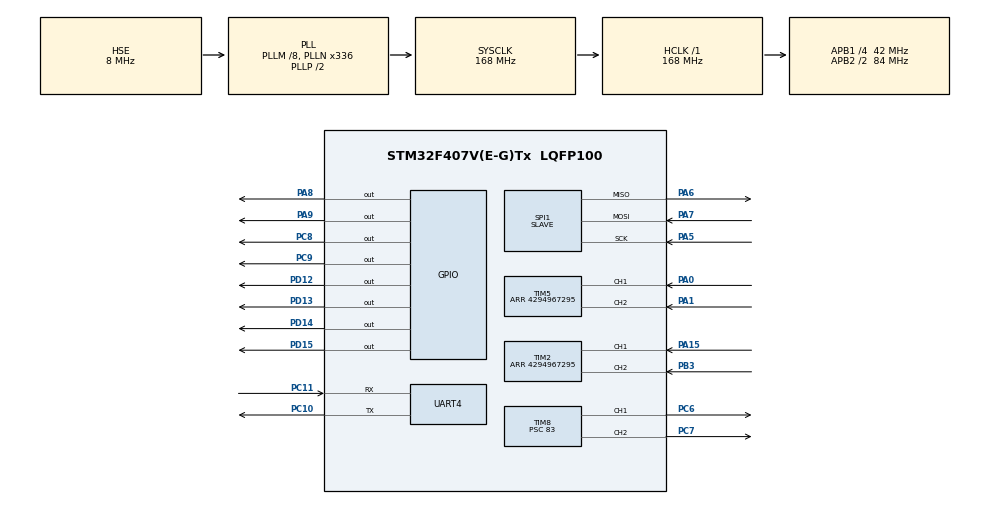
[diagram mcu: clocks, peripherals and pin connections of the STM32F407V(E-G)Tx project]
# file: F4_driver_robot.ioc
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Dma.Request0=TIM5_UP
Dma.Request1=TIM2_UP/CH3
Dma.Request2=UART4_RX
Dma.Request3=UART4_TX
Dma.Request4=SPI1_RX
Dma.Request5=SPI1_TX
Dma.SPI1_RX.4.Direction=DMA_PERIPH_TO_MEMORY
Dma.SPI1_RX.4.FIFOMode=DMA_FIFOMODE_DISABLE
Dma.SPI1_RX.4.Instance=DMA2_Stream0
Dma.SPI1_RX.4.MemDataAlignment=DMA_MDATAALIGN_BYTE
Dma.SPI1_RX.4.MemInc=DMA_MINC_ENABLE
Dma.SPI1_RX.4.Mode=DMA_CIRCULAR
Dma.SPI1_RX.4.PeriphDataAlignment=DMA_PDATAALIGN_BYTE
Dma.SPI1_RX.4.PeriphInc=DMA_PINC_DISABLE
Dma.SPI1_RX.4.Priority=DMA_PRIORITY_LOW
Dma.SPI1_TX.5.Direction=DMA_MEMORY_TO_PERIPH
Dma.SPI1_TX.5.FIFOMode=DMA_FIFOMODE_DISABLE
Dma.SPI1_TX.5.Instance=DMA2_Stream5
Dma.SPI1_TX.5.MemDataAlignment=DMA_MDATAALIGN_BYTE
Dma.SPI1_TX.5.MemInc=DMA_MINC_ENABLE
Dma.SPI1_TX.5.Mode=DMA_NORMAL
Dma.SPI1_TX.5.PeriphDataAlignment=DMA_PDATAALIGN_BYTE
Dma.SPI1_TX.5.PeriphInc=DMA_PINC_DISABLE
Dma.SPI1_TX.5.Priority=DMA_PRIORITY_LOW
Dma.TIM2_UP/CH3.1.Direction=DMA_PERIPH_TO_MEMORY
Dma.TIM2_UP/CH3.1.FIFOMode=DMA_FIFOMODE_DISABLE
Dma.TIM2_UP/CH3.1.Instance=DMA1_Stream1
Dma.TIM2_UP/CH3.1.MemDataAlignment=DMA_MDATAALIGN_WORD
Dma.TIM2_UP/CH3.1.MemInc=DMA_MINC_ENABLE
Dma.TIM2_UP/CH3.1.Mode=DMA_CIRCULAR
Dma.TIM2_UP/CH3.1.PeriphDataAlignment=DMA_PDATAALIGN_WORD
Dma.TIM2_UP/CH3.1.PeriphInc=DMA_PINC_DISABLE
Dma.TIM2_UP/CH3.1.Priority=DMA_PRIORITY_LOW
Dma.TIM5_UP.0.Direction=DMA_PERIPH_TO_MEMORY
Dma.TIM5_UP.0.FIFOMode=DMA_FIFOMODE_DISABLE
Dma.TIM5_UP.0.Instance=DMA1_Stream6
Dma.TIM5_UP.0.MemDataAlignment=DMA_MDATAALIGN_WORD
Dma.TIM5_UP.0.MemInc=DMA_MINC_ENABLE
Dma.TIM5_UP.0.Mode=DMA_CIRCULAR
Dma.TIM5_UP.0.PeriphDataAlignment=DMA_PDATAALIGN_WORD
Dma.TIM5_UP.0.PeriphInc=DMA_PINC_DISABLE
Dma.TIM5_UP.0.Priority=DMA_PRIORITY_LOW
Dma.UART4_RX.2.Direction=DMA_PERIPH_TO_MEMORY
Dma.UART4_RX.2.FIFOMode=DMA_FIFOMODE_DISABLE
Dma.UART4_RX.2.Instance=DMA1_Stream2
Dma.UART4_RX.2.MemDataAlignment=DMA_MDATAALIGN_BYTE
Dma.UART4_RX.2.MemInc=DMA_MINC_ENABLE
Dma.UART4_RX.2.Mode=DMA_CIRCULAR
Dma.UART4_RX.2.PeriphDataAlignment=DMA_PDATAALIGN_BYTE
Dma.UART4_RX.2.PeriphInc=DMA_PINC_DISABLE
Dma.UART4_RX.2.Priority=DMA_PRIORITY_LOW
Dma.UART4_TX.3.Direction=DMA_MEMORY_TO_PERIPH
Dma.UART4_TX.3.FIFOMode=DMA_FIFOMODE_DISABLE
Dma.UART4_TX.3.Instance=DMA1_Stream4
Dma.UART4_TX.3.MemDataAlignment=DMA_MDATAALIGN_BYTE
Dma.UART4_TX.3.MemInc=DMA_MINC_ENABLE
Dma.UART4_TX.3.Mode=DMA_NORMAL
Dma.UART4_TX.3.PeriphDataAlignment=DMA_PDATAALIGN_BYTE
Dma.UART4_TX.3.PeriphInc=DMA_PINC_DISABLE
Dma.UART4_TX.3.Priority=DMA_PRIORITY_LOW
Mcu.Family=STM32F4
Mcu.Name=STM32F407V(E-G)Tx
Mcu.Package=LQFP100
NVIC.DMA1_Stream1_IRQn=true\:0\:0\:false\:false\:true\:false\:true\:true
NVIC.DMA1_Stream2_IRQn=true\:0\:0\:false\:false\:true\:false\:true\:true
NVIC.DMA1_Stream4_IRQn=true\:0\:0\:false\:false\:true\:false\:true\:true
NVIC.DMA1_Stream6_IRQn=true\:0\:0\:false\:false\:true\:false\:true\:true
NVIC.DMA2_Stream0_IRQn=true\:0\:0\:false\:false\:true\:false\:true\:true
NVIC.DMA2_Stream5_IRQn=true\:0\:0\:false\:false\:true\:false\:true\:true
NVIC.PriorityGroup=NVIC_PRIORITYGROUP_4
NVIC.SPI1_IRQn=true\:0\:0\:false\:false\:true\:true\:true\:true
NVIC.TIM1_UP_TIM10_IRQn=true\:0\:0\:false\:false\:true\:true\:true\:true
NVIC.UART4_IRQn=true\:0\:0\:false\:false\:true\:true\:true\:true
PA0-WKUP.Signal=S_TIM5_CH1
PA1.Signal=S_TIM5_CH2
PA13.Mode=Serial_Wire
PA13.Signal=SYS_JTMS-SWDIO
PA14.Mode=Serial_Wire
PA14.Signal=SYS_JTCK-SWCLK
PA15.Signal=S_TIM2_CH1_ETR
PA5.Mode=Full_Duplex_Slave
PA5.Signal=SPI1_SCK
PA6.Mode=Full_Duplex_Slave
PA6.Signal=SPI1_MISO
PA7.Mode=Full_Duplex_Slave
PA7.Signal=SPI1_MOSI
PA8.Signal=GPIO_Output
PA9.Signal=GPIO_Output
PB3.Signal=S_TIM2_CH2
PC10.Mode=Asynchronous
PC10.Signal=UART4_TX
PC11.Mode=Asynchronous
PC11.Signal=UART4_RX
PC6.Signal=S_TIM8_CH1
PC7.Signal=S_TIM8_CH2
PC8.Signal=GPIO_Output
PC9.Signal=GPIO_Output
PD12.Signal=GPIO_Output
PD13.Signal=GPIO_Output
PD14.Signal=GPIO_Output
PD15.Signal=GPIO_Output
PH0-OSC_IN.Mode=HSE-External-Oscillator
PH0-OSC_IN.Signal=RCC_OSC_IN
PH1-OSC_OUT.Mode=HSE-External-Oscillator
PH1-OSC_OUT.Signal=RCC_OSC_OUT
ProjectManager.HeapSize=0x200
ProjectManager.StackSize=0x400
ProjectManager.TargetToolchain=MDK-ARM V5.32
RCC.48MHZClocksFreq_Value=84000000
RCC.AHBFreq_Value=168000000
RCC.APB1CLKDivider=RCC_HCLK_DIV4
RCC.APB1Freq_Value=42000000
RCC.APB1TimFreq_Value=84000000
RCC.APB2CLKDivider=RCC_HCLK_DIV2
RCC.APB2Freq_Value=84000000
RCC.APB2TimFreq_Value=168000000
RCC.CortexFreq_Value=168000000
RCC.HCLKFreq_Value=168000000
RCC.HSE_VALUE=8000000
RCC.HSI_VALUE=16000000
RCC.LSE_VALUE=32768
RCC.PLLM=8
RCC.PLLN=336
RCC.PLLSourceVirtual=RCC_PLLSOURCE_HSE
RCC.SYSCLKFreq_VALUE=168000000
RCC.SYSCLKSource=RCC_SYSCLKSOURCE_PLLCLK
RCC.VCOOutputFreq_Value=336000000
SH.S_TIM2_CH1_ETR.0=TIM2_CH1,Encoder_Interface
SH.S_TIM2_CH2.0=TIM2_CH2,Encoder_Interface
SH.S_TIM5_CH1.0=TIM5_CH1,Encoder_Interface
SH.S_TIM5_CH2.0=TIM5_CH2,Encoder_Interface
SH.S_TIM8_CH1.0=TIM8_CH1,PWM Generation1 CH1
SH.S_TIM8_CH2.0=TIM8_CH2,PWM Generation2 CH2
SPI1.CRCCalculation=SPI_CRCCALCULATION_DISABLE
SPI1.Direction=SPI_DIRECTION_2LINES
SPI1.Mode=SPI_MODE_SLAVE
SPI1.VirtualType=VM_SLAVE
TIM1.Period=1679
TIM1.Prescaler=499
TIM2.AutoReloadPreload=TIM_AUTORELOAD_PRELOAD_DISABLE
TIM2.CounterMode=TIM_COUNTERMODE_UP
TIM2.EncoderMode=TIM_ENCODERMODE_TI12
TIM2.Period=4294967295
TIM5.EncoderMode=TIM_ENCODERMODE_TI12
TIM5.Period=4294967295
TIM8.Channel-PWM\ Generation1\ CH1=TIM_CHANNEL_1
TIM8.Channel-PWM\ Generation2\ CH2=TIM_CHANNEL_2
TIM8.Period=999
TIM8.Prescaler=83
UART4.VirtualMode=Asynchronous
VP_TIM1_VS_ClockSourceINT.Mode=Internal
board=custom

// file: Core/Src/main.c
/* USER CODE BEGIN Header */
/**
  ******************************************************************************
  * @file           : main.c
  * @brief          : Main program body
  ******************************************************************************
  * @attention
  *
  * Copyright (c) 2022 STMicroelectronics.
  * All rights reserved.
  *
  * This software is licensed under terms that can be found in the LICENSE file
  * in the root directory of this software component.
  * If no LICENSE file comes with this software, it is provided AS-IS.
  *
  ******************************************************************************
  */
/* USER CODE END Header */
#include "main.h"

/* USER CODE BEGIN Includes */
#define Tran_P 1
#define Tran_V 0
#define Block 2
#define Control_V 1
#define Control_P 0
/* USER CODE END Includes */

/* USER CODE BEGIN PTD */
double Kp1 = 14 , Kp2 = 15, Ki1 = 200, Ki2= 200, Kd1 =0, Kd2 =0, Ts =0.005 ; /*PID parameter for  velocity Control*/
double Kp_1 = 15 , Kp_2 = 19, Ki_1 = 60, Ki_2= 20, Kd_1 =2, Kd_2 =3; /*PID parameter for positon Control */
double e1,e2;
volatile int32_t	encoder_cnt1 = 0, encoder_cnt_pre1 = 0, encoder_cnt2 = 0, encoder_cnt_pre2 = 0,test1,test2, s_pos1 = 0, s_pos2 =0;
volatile short rate1,pulse1,rate2,pulse2,s_rate1 = 0,s_rate2 =0,test, x = 999;
volatile int pid1,pid2;
uint8_t u8_Rx_Data[256],u8_Tx_Data[30] ,u8_Rx_SPI[1], u8_Rx_c, control_mode = Control_V, send_mode = Block, error_state = 0;
uint8_t start_buff = 0;
uint8_t end_buff = 255;

/* USER CODE END PTD */

SPI_HandleTypeDef hspi1;
DMA_HandleTypeDef hdma_spi1_rx;
DMA_HandleTypeDef hdma_spi1_tx;

TIM_HandleTypeDef htim1;
TIM_HandleTypeDef htim2;
TIM_HandleTypeDef htim5;
TIM_HandleTypeDef htim8;
DMA_HandleTypeDef hdma_tim2_up_ch3;
DMA_HandleTypeDef hdma_tim5_up;

UART_HandleTypeDef huart4;
DMA_HandleTypeDef hdma_uart4_rx;
DMA_HandleTypeDef hdma_uart4_tx;

void SystemClock_Config(void);
static void MX_GPIO_Init(void);
static void MX_DMA_Init(void);
static void MX_TIM2_Init(void);
static void MX_TIM5_Init(void);
static void MX_TIM8_Init(void);
static void MX_TIM1_Init(void);
static void MX_UART4_Init(void);
static void MX_SPI1_Init(void);

/* USER CODE BEGIN 0 */
int muoi_mu(int a);
int Int2Str(int a, int offset);
void tran_mess( uint8_t mode);
void HAL_TIM_PeriodElapsedCallback(TIM_HandleTypeDef *htim);
void HAL_UART_RxCpltCallback(UART_HandleTypeDef *huart);
void HAL_SPI_RxCpltCallback(SPI_HandleTypeDef *hspi);
int Str2Int(uint8_t* p , uint8_t i);
uint8_t Pop_Rx_Data();
/* USER CODE END 0 */

int main(void)
{

  /* MCU Configuration--------------------------------------------------------*/

  /* Reset of all peripherals, Initializes the Flash interface and the Systick. */
  HAL_Init();

  /* Configure the system clock */
  SystemClock_Config();

  /* Initialize all configured peripherals */
  MX_GPIO_Init();
  MX_DMA_Init();
  MX_TIM2_Init();
  MX_TIM5_Init();
  MX_TIM8_Init();
  MX_TIM1_Init();
  MX_UART4_Init();
  MX_SPI1_Init();
  /* USER CODE BEGIN 2 */
	HAL_TIM_Encoder_Start(&htim2,TIM_CHANNEL_1|TIM_CHANNEL_2);
	HAL_TIM_Encoder_Start(&htim5,TIM_CHANNEL_1|TIM_CHANNEL_2);
	HAL_TIM_PWM_Start(&htim8,TIM_CHANNEL_1);
	HAL_TIM_PWM_Start(&htim8,TIM_CHANNEL_2);
	HAL_TIM_Base_Start_IT(&htim1);
	HAL_SPI_Receive_DMA(&hspi1,u8_Rx_SPI,1);
	HAL_UART_Receive_DMA(&huart4,&u8_Rx_c,1);

	//

  /* USER CODE END 2 */

  /* Infinite loop */
  /* USER CODE BEGIN WHILE */
  while (1)
  {
		/* Process UART*/
		uint8_t c = Pop_Rx_Data();
		uint8_t s_buff1[4],s_buff2[4];
		int i_buff =0;
		if (c == '!')
		{
			c = Pop_Rx_Data();
			switch (c)
			{
				case 'V' :
					c = Pop_Rx_Data();
					while (c != ';' && c !='!')
					{
						s_buff1[i_buff++] = c;
						c = Pop_Rx_Data();
					}
					s_rate1 = Str2Int (s_buff1,i_buff);
					i_buff =0;
					c = Pop_Rx_Data();
					while (c != '#' && c !='!')
					{
						s_buff2[i_buff++] = c ;
						c = Pop_Rx_Data();
					}
					s_rate2 = Str2Int (s_buff2,i_buff);
					i_buff =0;
					control_mode = Control_V ;
					break;
				case 'P' :
					c = Pop_Rx_Data();
					while (c != ';' && c !='!')
					{
						s_buff1[i_buff++] = c;
						c = Pop_Rx_Data();
					}
					s_pos1 = Str2Int (s_buff1,i_buff);
					i_buff =0;
					c = Pop_Rx_Data();
					while (c != '#' && c !='!')
					{
						s_buff2[i_buff++] = c ;
						c = Pop_Rx_Data();
					}
					s_pos2 = Str2Int (s_buff2,i_buff);
					i_buff =0;
					control_mode = Control_P ;
					break;
				case 'v':
					c = Pop_Rx_Data();
					if (c == '#') send_mode = Tran_V;
					break;
				case 'p':
					c = Pop_Rx_Data();
					if (c == '#') send_mode = Tran_P;
					break ;
				case 'O':
					c = Pop_Rx_Data();
					if (c == '#') send_mode = Block ;
					break;
				default :
					break;
			}
		}
    /* USER CODE END WHILE */

  }
}

void SystemClock_Config(void)
{
  RCC_OscInitTypeDef RCC_OscInitStruct = {0};
  RCC_ClkInitTypeDef RCC_ClkInitStruct = {0};

  /** Configure the main internal regulator output voltage
  */
  __HAL_RCC_PWR_CLK_ENABLE();
  __HAL_PWR_VOLTAGESCALING_CONFIG(PWR_REGULATOR_VOLTAGE_SCALE1);

  /** Initializes the RCC Oscillators according to the specified parameters
  * in the RCC_OscInitTypeDef structure.
  */
  RCC_OscInitStruct.OscillatorType = RCC_OSCILLATORTYPE_HSE;
  RCC_OscInitStruct.HSEState = RCC_HSE_ON;
  RCC_OscInitStruct.PLL.PLLState = RCC_PLL_ON;
  RCC_OscInitStruct.PLL.PLLSource = RCC_PLLSOURCE_HSE;
  RCC_OscInitStruct.PLL.PLLM = 8;
  RCC_OscInitStruct.PLL.PLLN = 336;
  RCC_OscInitStruct.PLL.PLLP = RCC_PLLP_DIV2;
  RCC_OscInitStruct.PLL.PLLQ = 4;
  if (HAL_RCC_OscConfig(&RCC_OscInitStruct) != HAL_OK)
  {
    Error_Handler();
  }

  /** Initializes the CPU, AHB and APB buses clocks
  */
  RCC_ClkInitStruct.ClockType = RCC_CLOCKTYPE_HCLK|RCC_CLOCKTYPE_SYSCLK
                              |RCC_CLOCKTYPE_PCLK1|RCC_CLOCKTYPE_PCLK2;
  RCC_ClkInitStruct.SYSCLKSource = RCC_SYSCLKSOURCE_PLLCLK;
  RCC_ClkInitStruct.AHBCLKDivider = RCC_SYSCLK_DIV1;
  RCC_ClkInitStruct.APB1CLKDivider = RCC_HCLK_DIV4;
  RCC_ClkInitStruct.APB2CLKDivider = RCC_HCLK_DIV2;

  if (HAL_RCC_ClockConfig(&RCC_ClkInitStruct, FLASH_LATENCY_5) != HAL_OK)
  {
    Error_Handler();
  }
}

static void MX_SPI1_Init(void)
{

  /* SPI1 parameter configuration*/
  hspi1.Instance = SPI1;
  hspi1.Init.Mode = SPI_MODE_SLAVE;
  hspi1.Init.Direction = SPI_DIRECTION_2LINES;
  hspi1.Init.DataSize = SPI_DATASIZE_8BIT;
  hspi1.Init.CLKPolarity = SPI_POLARITY_LOW;
  hspi1.Init.CLKPhase = SPI_PHASE_1EDGE;
  hspi1.Init.NSS = SPI_NSS_SOFT;
  hspi1.Init.FirstBit = SPI_FIRSTBIT_MSB;
  hspi1.Init.TIMode = SPI_TIMODE_DISABLE;
  hspi1.Init.CRCCalculation = SPI_CRCCALCULATION_DISABLE;
  hspi1.Init.CRCPolynomial = 10;
  if (HAL_SPI_Init(&hspi1) != HAL_OK)
  {
    Error_Handler();
  }

}

static void MX_TIM1_Init(void)
{

  TIM_ClockConfigTypeDef sClockSourceConfig = {0};
  TIM_MasterConfigTypeDef sMasterConfig = {0};

  htim1.Instance = TIM1;
  htim1.Init.Prescaler = 499;
  htim1.Init.CounterMode = TIM_COUNTERMODE_UP;
  htim1.Init.Period = 1679;
  htim1.Init.ClockDivision = TIM_CLOCKDIVISION_DIV1;
  htim1.Init.RepetitionCounter = 0;
  htim1.Init.AutoReloadPreload = TIM_AUTORELOAD_PRELOAD_DISABLE;
  if (HAL_TIM_Base_Init(&htim1) != HAL_OK)
  {
    Error_Handler();
  }
  sClockSourceConfig.ClockSource = TIM_CLOCKSOURCE_INTERNAL;
  if (HAL_TIM_ConfigClockSource(&htim1, &sClockSourceConfig) != HAL_OK)
  {
    Error_Handler();
  }
  sMasterConfig.MasterOutputTrigger = TIM_TRGO_RESET;
  sMasterConfig.MasterSlaveMode = TIM_MASTERSLAVEMODE_DISABLE;
  if (HAL_TIMEx_MasterConfigSynchronization(&htim1, &sMasterConfig) != HAL_OK)
  {
    Error_Handler();
  }

}

static void MX_TIM2_Init(void)
{

  TIM_Encoder_InitTypeDef sConfig = {0};
  TIM_MasterConfigTypeDef sMasterConfig = {0};

  htim2.Instance = TIM2;
  htim2.Init.Prescaler = 0;
  htim2.Init.CounterMode = TIM_COUNTERMODE_UP;
  htim2.Init.Period = 4294967295;
  htim2.Init.ClockDivision = TIM_CLOCKDIVISION_DIV1;
  htim2.Init.AutoReloadPreload = TIM_AUTORELOAD_PRELOAD_DISABLE;
  sConfig.EncoderMode = TIM_ENCODERMODE_TI12;
  sConfig.IC1Polarity = TIM_ICPOLARITY_RISING;
  sConfig.IC1Selection = TIM_ICSELECTION_DIRECTTI;
  sConfig.IC1Prescaler = TIM_ICPSC_DIV1;
  sConfig.IC1Filter = 0;
  sConfig.IC2Polarity = TIM_ICPOLARITY_RISING;
  sConfig.IC2Selection = TIM_ICSELECTION_DIRECTTI;
  sConfig.IC2Prescaler = TIM_ICPSC_DIV1;
  sConfig.IC2Filter = 0;
  if (HAL_TIM_Encoder_Init(&htim2, &sConfig) != HAL_OK)
  {
    Error_Handler();
  }
  sMasterConfig.MasterOutputTrigger = TIM_TRGO_RESET;
  sMasterConfig.MasterSlaveMode = TIM_MASTERSLAVEMODE_DISABLE;
  if (HAL_TIMEx_MasterConfigSynchronization(&htim2, &sMasterConfig) != HAL_OK)
  {
    Error_Handler();
  }

}

static void MX_TIM5_Init(void)
{

  TIM_Encoder_InitTypeDef sConfig = {0};
  TIM_MasterConfigTypeDef sMasterConfig = {0};

  htim5.Instance = TIM5;
  htim5.Init.Prescaler = 0;
  htim5.Init.CounterMode = TIM_COUNTERMODE_UP;
  htim5.Init.Period = 4294967295;
  htim5.Init.ClockDivision = TIM_CLOCKDIVISION_DIV1;
  htim5.Init.AutoReloadPreload = TIM_AUTORELOAD_PRELOAD_DISABLE;
  sConfig.EncoderMode = TIM_ENCODERMODE_TI12;
  sConfig.IC1Polarity = TIM_ICPOLARITY_RISING;
  sConfig.IC1Selection = TIM_ICSELECTION_DIRECTTI;
  sConfig.IC1Prescaler = TIM_ICPSC_DIV1;
  sConfig.IC1Filter = 0;
  sConfig.IC2Polarity = TIM_ICPOLARITY_RISING;
  sConfig.IC2Selection = TIM_ICSELECTION_DIRECTTI;
  sConfig.IC2Prescaler = TIM_ICPSC_DIV1;
  sConfig.IC2Filter = 0;
  if (HAL_TIM_Encoder_Init(&htim5, &sConfig) != HAL_OK)
  {
    Error_Handler();
  }
  sMasterConfig.MasterOutputTrigger = TIM_TRGO_RESET;
  sMasterConfig.MasterSlaveMode = TIM_MASTERSLAVEMODE_DISABLE;
  if (HAL_TIMEx_MasterConfigSynchronization(&htim5, &sMasterConfig) != HAL_OK)
  {
    Error_Handler();
  }

}

static void MX_TIM8_Init(void)
{

  TIM_MasterConfigTypeDef sMasterConfig = {0};
  TIM_OC_InitTypeDef sConfigOC = {0};
  TIM_BreakDeadTimeConfigTypeDef sBreakDeadTimeConfig = {0};

  htim8.Instance = TIM8;
  htim8.Init.Prescaler = 83;
  htim8.Init.CounterMode = TIM_COUNTERMODE_UP;
  htim8.Init.Period = 999;
  htim8.Init.ClockDivision = TIM_CLOCKDIVISION_DIV1;
  htim8.Init.RepetitionCounter = 0;
  htim8.Init.AutoReloadPreload = TIM_AUTORELOAD_PRELOAD_DISABLE;
  if (HAL_TIM_PWM_Init(&htim8) != HAL_OK)
  {
    Error_Handler();
  }
  sMasterConfig.MasterOutputTrigger = TIM_TRGO_RESET;
  sMasterConfig.MasterSlaveMode = TIM_MASTERSLAVEMODE_DISABLE;
  if (HAL_TIMEx_MasterConfigSynchronization(&htim8, &sMasterConfig) != HAL_OK)
  {
    Error_Handler();
  }
  sConfigOC.OCMode = TIM_OCMODE_PWM1;
  sConfigOC.Pulse = 0;
  sConfigOC.OCPolarity = TIM_OCPOLARITY_HIGH;
  sConfigOC.OCNPolarity = TIM_OCNPOLARITY_HIGH;
  sConfigOC.OCFastMode = TIM_OCFAST_DISABLE;
  sConfigOC.OCIdleState = TIM_OCIDLESTATE_RESET;
  sConfigOC.OCNIdleState = TIM_OCNIDLESTATE_RESET;
  if (HAL_TIM_PWM_ConfigChannel(&htim8, &sConfigOC, TIM_CHANNEL_1) != HAL_OK)
  {
    Error_Handler();
  }
  if (HAL_TIM_PWM_ConfigChannel(&htim8, &sConfigOC, TIM_CHANNEL_2) != HAL_OK)
  {
    Error_Handler();
  }
  sBreakDeadTimeConfig.OffStateRunMode = TIM_OSSR_DISABLE;
  sBreakDeadTimeConfig.OffStateIDLEMode = TIM_OSSI_DISABLE;
  sBreakDeadTimeConfig.LockLevel = TIM_LOCKLEVEL_OFF;
  sBreakDeadTimeConfig.DeadTime = 0;
  sBreakDeadTimeConfig.BreakState = TIM_BREAK_DISABLE;
  sBreakDeadTimeConfig.BreakPolarity = TIM_BREAKPOLARITY_HIGH;
  sBreakDeadTimeConfig.AutomaticOutput = TIM_AUTOMATICOUTPUT_DISABLE;
  if (HAL_TIMEx_ConfigBreakDeadTime(&htim8, &sBreakDeadTimeConfig) != HAL_OK)
  {
    Error_Handler();
  }
  HAL_TIM_MspPostInit(&htim8);

}

static void MX_UART4_Init(void)
{

  huart4.Instance = UART4;
  huart4.Init.BaudRate = 115200;
  huart4.Init.WordLength = UART_WORDLENGTH_8B;
  huart4.Init.StopBits = UART_STOPBITS_1;
  huart4.Init.Parity = UART_PARITY_NONE;
  huart4.Init.Mode = UART_MODE_TX_RX;
  huart4.Init.HwFlowCtl = UART_HWCONTROL_NONE;
  huart4.Init.OverSampling = UART_OVERSAMPLING_16;
  if (HAL_UART_Init(&huart4) != HAL_OK)
  {
    Error_Handler();
  }

}

static void MX_DMA_Init(void)
{

  /* DMA controller clock enable */
  __HAL_RCC_DMA1_CLK_ENABLE();
  __HAL_RCC_DMA2_CLK_ENABLE();

  /* DMA interrupt init */
  /* DMA1_Stream1_IRQn interrupt configuration */
  HAL_NVIC_SetPriority(DMA1_Stream1_IRQn, 0, 0);
  HAL_NVIC_EnableIRQ(DMA1_Stream1_IRQn);
  /* DMA1_Stream2_IRQn interrupt configuration */
  HAL_NVIC_SetPriority(DMA1_Stream2_IRQn, 0, 0);
  HAL_NVIC_EnableIRQ(DMA1_Stream2_IRQn);
  /* DMA1_Stream4_IRQn interrupt configuration */
  HAL_NVIC_SetPriority(DMA1_Stream4_IRQn, 0, 0);
  HAL_NVIC_EnableIRQ(DMA1_Stream4_IRQn);
  /* DMA1_Stream6_IRQn interrupt configuration */
  HAL_NVIC_SetPriority(DMA1_Stream6_IRQn, 0, 0);
  HAL_NVIC_EnableIRQ(DMA1_Stream6_IRQn);
  /* DMA2_Stream0_IRQn interrupt configuration */
  HAL_NVIC_SetPriority(DMA2_Stream0_IRQn, 0, 0);
  HAL_NVIC_EnableIRQ(DMA2_Stream0_IRQn);
  /* DMA2_Stream5_IRQn interrupt configuration */
  HAL_NVIC_SetPriority(DMA2_Stream5_IRQn, 0, 0);
  HAL_NVIC_EnableIRQ(DMA2_Stream5_IRQn);

}

static void MX_GPIO_Init(void)
{
  GPIO_InitTypeDef GPIO_InitStruct = {0};

  /* GPIO Ports Clock Enable */
  __HAL_RCC_GPIOH_CLK_ENABLE();
  __HAL_RCC_GPIOA_CLK_ENABLE();
  __HAL_RCC_GPIOD_CLK_ENABLE();
  __HAL_RCC_GPIOC_CLK_ENABLE();
  __HAL_RCC_GPIOB_CLK_ENABLE();

  /*Configure GPIO pin Output Level */
  HAL_GPIO_WritePin(GPIOD, GPIO_PIN_12|GPIO_PIN_13|GPIO_PIN_14|GPIO_PIN_15, GPIO_PIN_RESET);

  /*Configure GPIO pin Output Level */
  HAL_GPIO_WritePin(GPIOC, GPIO_PIN_8|GPIO_PIN_9, GPIO_PIN_RESET);

  /*Configure GPIO pin Output Level */
  HAL_GPIO_WritePin(GPIOA, GPIO_PIN_8|GPIO_PIN_9, GPIO_PIN_RESET);

  /*Configure GPIO pins : PD12 PD13 PD14 PD15 */
  GPIO_InitStruct.Pin = GPIO_PIN_12|GPIO_PIN_13|GPIO_PIN_14|GPIO_PIN_15;
  GPIO_InitStruct.Mode = GPIO_MODE_OUTPUT_PP;
  GPIO_InitStruct.Pull = GPIO_NOPULL;
  GPIO_InitStruct.Speed = GPIO_SPEED_FREQ_LOW;
  HAL_GPIO_Init(GPIOD, &GPIO_InitStruct);

  /*Configure GPIO pins : PC8 PC9 */
  GPIO_InitStruct.Pin = GPIO_PIN_8|GPIO_PIN_9;
  GPIO_InitStruct.Mode = GPIO_MODE_OUTPUT_PP;
  GPIO_InitStruct.Pull = GPIO_NOPULL;
  GPIO_InitStruct.Speed = GPIO_SPEED_FREQ_LOW;
  HAL_GPIO_Init(GPIOC, &GPIO_InitStruct);

  /*Configure GPIO pins : PA8 PA9 */
  GPIO_InitStruct.Pin = GPIO_PIN_8|GPIO_PIN_9;
  GPIO_InitStruct.Mode = GPIO_MODE_OUTPUT_PP;
  GPIO_InitStruct.Pull = GPIO_NOPULL;
  GPIO_InitStruct.Speed = GPIO_SPEED_FREQ_LOW;
  HAL_GPIO_Init(GPIOA, &GPIO_InitStruct);

}

/* USER CODE BEGIN 4 */
int muoi_mu(int a) /*a >= 0*/
{
	int  r =1;
	if (a == 0){
	return r;
	}
	else if (a < 0){
	return 0;
	}
	r =10*muoi_mu(a -1);
	return r;
}
int Int2Str(int a, int offset)
{
    uint8_t* p = u8_Tx_Data;
		p = p + offset;
    int l = -1;
    int i = 1;
		int neg =0;
    while ( i!=0)
    {
				i = a/muoi_mu(++l);
    }
    if (a == 0) l =1;

    if (a < 0)
    {
       *p = '-';
       p++;
       a = -a;
			 neg =1;
    }
    int temp;
    for (int j =0 ; j < l ; j++)
      {
          temp =a;
					temp = temp%muoi_mu(j+1);
          *(p+l-1-j) =temp/muoi_mu(j) + 48;
          a = a - temp;
      }

    return l+neg;
}
//

void tran_mess( uint8_t mode)
{
	/* Data Process*/
	u8_Tx_Data[0] = '!';
		if (mode == Tran_V)
	{
		/* Send velocity*/
		u8_Tx_Data[1] = 'V';
		u8_Tx_Data[2] = ';';
		int l  =  Int2Str(rate1,3) +3;
		u8_Tx_Data[l++] = ';';
		l = l + Int2Str(rate2,l);
		u8_Tx_Data[l++] = '#' ;
		HAL_UART_Transmit_DMA(&huart4,u8_Tx_Data,l);
	}
	else if (mode == Tran_P)
	{
		/* Send Counter*/
		u8_Tx_Data[1] = 'P';
		u8_Tx_Data[2] = ';';
		int temp = encoder_cnt1,temp1, t =3;
		int l = Int2Str(encoder_cnt1,3) +3 ;

		u8_Tx_Data[l++] = ';';
		l = l + Int2Str(encoder_cnt2,l);
		u8_Tx_Data[l++] = '#' ;
		HAL_UART_Transmit_DMA(&huart4,u8_Tx_Data,l);
	}

}
void HAL_TIM_PeriodElapsedCallback(TIM_HandleTypeDef *htim)
{

	if (htim -> Instance == TIM1)
	{
			if (control_mode == Control_V)
			{
			/* Mortor 1*/

			encoder_cnt_pre1 = encoder_cnt1;
			encoder_cnt1 = __HAL_TIM_GetCounter(&htim2);
			pulse1 = encoder_cnt1 - encoder_cnt_pre1;
			rate1 = pulse1*3000/374;
			if (s_rate1 != 0)
		{
			/* Compute PID Output for mortor1*/
			e1 = s_rate1 -rate1;

			static double u1_1 = 0 , u1 =0,e1_1 = 0,e2_1 =0;
			u1= u1_1 + Kp1*(e1-e1_1) + Ki1*Ts*(e1_1+e1)/2 + Kd1*(e1-2*e1_1+e2_1)/Ts;
			pid1 = u1;
			if (pid1 -u1 >-0.5) pid1++;
			e2_1 = e1_1;
			e1_1 = e1;
			u1_1=pid1;

			if (pid1 >= 0)
			{
			if (pid1 > x) pid1 =x;
			__HAL_TIM_SetCompare(&htim8,TIM_CHANNEL_2,pid1);
			HAL_GPIO_WritePin(GPIOA,GPIO_PIN_8,0);
			HAL_GPIO_WritePin(GPIOA,GPIO_PIN_9,1);
			}
			else
			{
			if (pid1 < - x) pid1 = - x;
			__HAL_TIM_SetCompare(&htim8,TIM_CHANNEL_2, - pid1);
			HAL_GPIO_WritePin(GPIOA,GPIO_PIN_8,1);
			HAL_GPIO_WritePin(GPIOA,GPIO_PIN_9,0);
			}
		}
		else  /* Stop motor 1*/
		{
			HAL_GPIO_WritePin(GPIOA,GPIO_PIN_8,0);
			HAL_GPIO_WritePin(GPIOA,GPIO_PIN_9,0);
		}
		/* Mortor 2*/

			encoder_cnt_pre2 = encoder_cnt2;
			encoder_cnt2 = __HAL_TIM_GetCounter(&htim5);
			pulse2 = encoder_cnt2 - encoder_cnt_pre2;
			rate2 = pulse2*3000/374;
			e2 = s_rate2 -rate2;

		if (s_rate2 !=0)
		{
			/* Compute PID Output for mortor 2*/
			static double u1_2 = 0 , u2 =0,e1_2 = 0,e2_2 =0;
			u2= u1_2 + Kp2*(e2-e1_2) + Ki2*Ts*(e1_2+e2)/2 + Kd2*(e2-2*e1_2+e2_2)/Ts;
			pid2 = u2;
			if (pid2 -u2>0.5) pid2++;
			e2_2 = e1_2;
			e1_2 = e2;
			u1_2=pid2;

			if (pid2 >= 0)
			{
			if (pid2 > x) pid2 =x;
			__HAL_TIM_SetCompare(&htim8,TIM_CHANNEL_1,pid2);
			HAL_GPIO_WritePin(GPIOC,GPIO_PIN_8,0);
			HAL_GPIO_WritePin(GPIOC,GPIO_PIN_9,1);
			}
			else
			{
			if (pid2 < - x) pid2 = - x;
			__HAL_TIM_SetCompare(&htim8,TIM_CHANNEL_1, - pid2);
			HAL_GPIO_WritePin(GPIOC,GPIO_PIN_8,1);
			HAL_GPIO_WritePin(GPIOC,GPIO_PIN_9,0);
			}
		}
		else
		{
			HAL_GPIO_WritePin(GPIOC,GPIO_PIN_8,0);
			HAL_GPIO_WritePin(GPIOC,GPIO_PIN_9,0);

		}
		}
		else if (control_mode == Control_P)
		{
			/*Position control*/
			/*Motor 1*/
			encoder_cnt1 = __HAL_TIM_GetCounter(&htim2);
			static int e_1_1 =0,e_1_2= 0,e_1=0,pid_1;
			static double u_1_1=0 ,u_1 = 0;
			e_1 = s_pos1 - encoder_cnt1 ;
			u_1= u_1_1 + Kp_1*(e_1-e_1_1) + Ki_1*Ts*(e_1_1+e_1)/2 + Kd_1*(e_1-2*e_1_1+e_1_2)/Ts;
			e_1_2 = e_1_1;
			e_1_1 = e_1;
			pid_1 =u_1;
			u_1_1 = pid1;

			if (pid_1 -u_1 >-0.5) pid_1++;
			pid1 = pid_1 ;

			if (pid1 >= 0)
			{
			if (pid1 > x) pid1 =x;
			__HAL_TIM_SetCompare(&htim8,TIM_CHANNEL_2,pid1);
			HAL_GPIO_WritePin(GPIOA,GPIO_PIN_8,0);
			HAL_GPIO_WritePin(GPIOA,GPIO_PIN_9,1);
			}
			else
			{
			if (pid1 < - x) pid1 = - x;
			__HAL_TIM_SetCompare(&htim8,TIM_CHANNEL_2, - pid1);
			HAL_GPIO_WritePin(GPIOA,GPIO_PIN_8,1);
			HAL_GPIO_WritePin(GPIOA,GPIO_PIN_9,0);
			}
			/* Motor 2*/
			encoder_cnt2 = __HAL_TIM_GetCounter(&htim5);
			static int e_2_1 =0,e_2_2= 0,e_2=0,pid_2;
			static double u_2_1=0 ,u_2 = 0;
			e_2 = s_pos2 - encoder_cnt2 ;
			u_2= u_2_1 + Kp_2*(e_2-e_2_1) + Ki_2*Ts*(e_2_1+e_2)/2 + Kd_2*(e_2-2*e_2_1+e_2_2)/Ts;
			e_2_2 = e_2_1;
			e_2_1 = e_2;
			pid_2 =u_2;
			u_2_1 = pid_2;
			if (pid_2 -u_2 >-0.5) pid_2++;
			//
			pid2 = pid_2;
			if (pid2 >= 0)
			{
			if (pid2 > x) pid2 =x;
			__HAL_TIM_SetCompare(&htim8,TIM_CHANNEL_1,pid2);
			HAL_GPIO_WritePin(GPIOC,GPIO_PIN_8,0);
			HAL_GPIO_WritePin(GPIOC,GPIO_PIN_9,1);
			}
			else
			{
			if (pid2 < - x) pid2 = - x;
			__HAL_TIM_SetCompare(&htim8,TIM_CHANNEL_1, - pid2);
			HAL_GPIO_WritePin(GPIOC,GPIO_PIN_8,1);
			HAL_GPIO_WritePin(GPIOC,GPIO_PIN_9,0);
			}
		}
		/* Send Data every two circle Timer1 (10ms)*/
		static uint8_t t =0;
		t ++;
		if (t%2){
		tran_mess(send_mode);
		}

		if (t == 100){
		if (error_state == 0){
		s_rate1 = 0;
		s_rate2 = 0;
		control_mode = Control_V;
		}
		else
		{
			error_state--;
		}
		}
	}

	}

void HAL_UART_RxCpltCallback(UART_HandleTypeDef *huart)
{
	error_state = 1;
	u8_Rx_Data[start_buff] = u8_Rx_c ;
	start_buff++ ;
	if (start_buff == end_buff)
	{
		/* full buffer*/
		HAL_GPIO_WritePin(GPIOD,GPIO_PIN_12,GPIO_PIN_SET);
		HAL_GPIO_WritePin(GPIOD,GPIO_PIN_13,GPIO_PIN_SET);
		HAL_GPIO_WritePin(GPIOD,GPIO_PIN_14,GPIO_PIN_SET);
		HAL_GPIO_WritePin(GPIOD,GPIO_PIN_15,GPIO_PIN_SET);

	}
}

uint8_t Pop_Rx_Data()
{
	end_buff++;
	while (end_buff == start_buff)
	{
		/* empty Buffer*/
		/* Wait for new data*/
		HAL_Delay(1);
	}
	return u8_Rx_Data[end_buff];
}
void HAL_SPI_RxCpltCallback(SPI_HandleTypeDef *hspi)
{
  /* Prevent unused argument(s) compilation warning */
	if (u8_Rx_SPI[0] == '0')
	{
		HAL_GPIO_WritePin(GPIOD,GPIO_PIN_13,1);
		HAL_GPIO_WritePin(GPIOD,GPIO_PIN_12,0);
		HAL_GPIO_WritePin(GPIOD,GPIO_PIN_14,0);
		HAL_GPIO_WritePin(GPIOD,GPIO_PIN_15,0);
		s_rate1 = s_rate2 = 150;
	}
		if (u8_Rx_SPI[0] == '1')
	{
		HAL_GPIO_WritePin(GPIOD,GPIO_PIN_15,1);
		HAL_GPIO_WritePin(GPIOD,GPIO_PIN_12,0);
		HAL_GPIO_WritePin(GPIOD,GPIO_PIN_13,0);
		HAL_GPIO_WritePin(GPIOD,GPIO_PIN_14,0);
		s_rate1 = s_rate2 = -150;
	}
		if (u8_Rx_SPI[0] == '2')
	{
		HAL_GPIO_WritePin(GPIOD,GPIO_PIN_12,1);
		HAL_GPIO_WritePin(GPIOD,GPIO_PIN_13,0);
		HAL_GPIO_WritePin(GPIOD,GPIO_PIN_14,0);
		HAL_GPIO_WritePin(GPIOD,GPIO_PIN_15,0);
		s_rate1 = 50;
		s_rate2 = 100;
	}
		if (u8_Rx_SPI[0] == '3')
	{
		HAL_GPIO_WritePin(GPIOD,GPIO_PIN_14,1);
		HAL_GPIO_WritePin(GPIOD,GPIO_PIN_12,0);
		HAL_GPIO_WritePin(GPIOD,GPIO_PIN_13,0);
		HAL_GPIO_WritePin(GPIOD,GPIO_PIN_15,0);
		s_rate1 = 100;
		s_rate2 = 50;
	}
		if (u8_Rx_SPI[0] == '4')
	{
		HAL_GPIO_WritePin(GPIOD,GPIO_PIN_12,0);
		HAL_GPIO_WritePin(GPIOD,GPIO_PIN_13,0);
		HAL_GPIO_WritePin(GPIOD,GPIO_PIN_14,0);
		HAL_GPIO_WritePin(GPIOD,GPIO_PIN_15,0);
		s_rate2 = 0;
		s_rate1 =0;

	}
	//HAL_GPIO_TogglePin(GPIOD,GPIO_PIN_13);
	//HAL_UART_Transmit_IT(&huart1,buff,12);
	HAL_SPI_Receive_IT(&hspi1,u8_Rx_Data,1);

  /* NOTE : This function should not be modified, when the callback is needed,
            the HAL_SPI_RxCpltCallback should be implemented in the user file
   */
}

int Str2Int(uint8_t* p , uint8_t i)
{
    int a = 0;
    if (*p != '-')
    {
        for (int j =0; j < i ; j++)
        {
						a += (*(p+j) -48 ) * muoi_mu(i-j-1) ;
        }

    }
    else
    {
       for (int j =1; j < i ; j++)
        {
            a += (*(p+j) -48 ) * muoi_mu(i-j-1) ;
        }
        a = -a ;
    }
    return a;
}
/* USER CODE END 4 */

void Error_Handler(void)
{
  __disable_irq();
  while (1)
  {
  }
}
